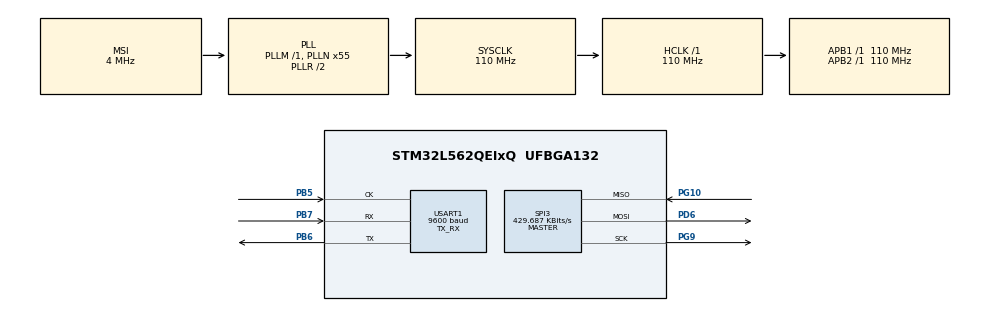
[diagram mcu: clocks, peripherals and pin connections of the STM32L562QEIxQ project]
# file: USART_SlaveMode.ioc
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Mcu.Family=STM32L5
Mcu.Name=STM32L562QEIxQ
Mcu.Package=UFBGA132
NVIC.PriorityGroup=NVIC_PRIORITYGROUP_3
PB5.GPIO_Speed=GPIO_SPEED_FREQ_VERY_HIGH
PB5.Mode=Synchronous Slave
PB5.Signal=USART1_CK
PB6.GPIO_Speed=GPIO_SPEED_FREQ_VERY_HIGH
PB6.Mode=Synchronous Slave
PB6.Signal=USART1_TX
PB7.GPIO_Speed=GPIO_SPEED_FREQ_VERY_HIGH
PB7.Mode=Synchronous Slave
PB7.Signal=USART1_RX
PD6.GPIO_PuPd=GPIO_PULLDOWN
PD6.GPIO_Speed=GPIO_SPEED_FREQ_VERY_HIGH
PD6.Mode=Full_Duplex_Master
PD6.Signal=SPI3_MOSI
PG10.GPIO_PuPd=GPIO_PULLDOWN
PG10.GPIO_Speed=GPIO_SPEED_FREQ_VERY_HIGH
PG10.Mode=Full_Duplex_Master
PG10.Signal=SPI3_MISO
PG9.GPIO_PuPd=GPIO_PULLDOWN
PG9.GPIO_Speed=GPIO_SPEED_FREQ_VERY_HIGH
PG9.Mode=Full_Duplex_Master
PG9.Signal=SPI3_SCK
ProjectManager.HeapSize=0x200
ProjectManager.StackSize=0x400
ProjectManager.TargetToolchain=EWARM V8.32
RCC.AHBFreq_Value=110000000
RCC.APB1Freq_Value=110000000
RCC.APB1TimFreq_Value=110000000
RCC.APB2Freq_Value=110000000
RCC.APB2TimFreq_Value=110000000
RCC.CK48CLockSelection=RCC_USBCLKSOURCE_MSI
RCC.CortexFreq_Value=110000000
RCC.HCLKFreq_Value=110000000
RCC.HSE_VALUE=16000000
RCC.HSI48_VALUE=48000000
RCC.HSI_VALUE=16000000
RCC.LSE_VALUE=32768
RCC.MSI_VALUE=4000000
RCC.PLLN=55
RCC.SYSCLKFreq_VALUE=110000000
RCC.SYSCLKSource=RCC_SYSCLKSOURCE_PLLCLK
RCC.USBFreq_Value=4000000
RCC.VCOOutputFreq_Value=220000000
SPI3.BaudRatePrescaler=SPI_BAUDRATEPRESCALER_256
SPI3.CalculateBaudRate=429.687 KBits/s
SPI3.DataSize=SPI_DATASIZE_8BIT
SPI3.Direction=SPI_DIRECTION_2LINES
SPI3.FirstBit=SPI_FIRSTBIT_LSB
SPI3.Mode=SPI_MODE_MASTER
SPI3.VirtualType=VM_MASTER
USART1.BaudRate=9600
USART1.CLKLastBit=USART_LASTBIT_ENABLE
USART1.CLKPhase=USART_PHASE_1EDGE
USART1.CLKPolarity=USART_POLARITY_LOW
USART1.ClockPrescaler=PRESCALER_DIV1
USART1.FIFOMode=FIFOMODE_DISABLE
USART1.Mode=MODE_TX_RX
USART1.NSS=USART_NSS_SOFT
USART1.Parity=PARITY_NONE
USART1.RXFIFOThreshold=RXFIFO_THRESHOLD_1EIGHTHFULL
USART1.SlaveMode=USART_SLAVEMODE_ENABLE
USART1.StopBits=STOPBITS_1
USART1.TXFIFOThreshold=TXFIFO_THRESHOLD_1EIGHTHFULL
USART1.VirtualMode-Synchronous\ Slave=VM_SYNC
USART1.WordLength=WORDLENGTH_8B
VP_ICACHE_VS_ICACHE.Mode=DirectMappedCache
VP_PWR_VS_DBSignals.Mode=DisableDeadBatterySignals
VP_USART1_VNSS.Mode=Software NSS Management
board=custom

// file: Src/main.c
/* USER CODE BEGIN Header */
/**
  ******************************************************************************
  * @file    USART/USART_SlaveMode/Src/main.c
  * @author  MCD Application Team
  * @brief   This sample code shows how to use USART HAL API (USART instance)
  *          to set up a USART-SPI communication.
  *          Two boards are used, one configured as a SPI master and the second
  *          one configured as an USART slave.
  ******************************************************************************
  * @attention
  *
  * Copyright (c) 2019 STMicroelectronics.
  * All rights reserved.
  *
  * This software is licensed under terms that can be found in the LICENSE file
  * in the root directory of this software component.
  * If no LICENSE file comes with this software, it is provided AS-IS.
  *
  ******************************************************************************
  */
/* USER CODE END Header */
#include "main.h"

/* USER CODE BEGIN PD */
#define SLAVE_BOARD
/* USER CODE END PD */

SPI_HandleTypeDef hspi3;

USART_HandleTypeDef husart1;

/* USER CODE BEGIN PV */
__IO uint32_t UserButtonStatus = 0; /* set to 1 after User Button interrupt */

/* Buffer used for transmission */
uint8_t aTxBuffer[] = " **** USART_SlaveMode ****  **** USART_SlaveMode ****  **** USART_SlaveMode **** ";

/* Buffer used for reception */
uint8_t aRxBuffer[RXBUFFERSIZE];
/* USER CODE END PV */

void SystemClock_Config(void);
static void MX_GPIO_Init(void);
static void MX_ICACHE_Init(void);
static void MX_SPI3_Init(void);
static void MX_USART1_Init(void);
/* USER CODE BEGIN PFP */
static uint16_t Buffercmp(uint8_t* pBuffer1, uint8_t* pBuffer2, uint16_t BufferLength);
/* USER CODE END PFP */

int main(void)
{
  /* USER CODE BEGIN 1 */
  /* STM32L5xx HAL library initialization:
       - Systick timer is configured by default as source of time base, but user
         can eventually implement his proper time base source (a general purpose
         timer for example or other time source), keeping in mind that Time base
         duration should be kept 1ms since PPP_TIMEOUT_VALUEs are defined and
         handled in milliseconds basis.
       - Set NVIC Group Priority to 3
       - Low Level Initialization
     */
  /* USER CODE END 1 */

  /* MCU Configuration--------------------------------------------------------*/

  /* Reset of all peripherals, Initializes the Flash interface and the Systick. */
  HAL_Init();

  /* Configure the system clock */
  SystemClock_Config();

  /* USER CODE BEGIN SysInit */
  /* Initialize BSP LEDs */
  BSP_LED_Init(LED10);
  BSP_LED_Init(LED9);
  /* USER CODE END SysInit */

  /* Initialize all configured peripherals */
  MX_GPIO_Init();
  MX_ICACHE_Init();
  MX_SPI3_Init();
  MX_USART1_Init();
  /* USER CODE BEGIN 2 */

#ifdef SLAVE_BOARD

  /*##-1- Start the transmission/reception process ###########################*/
  if(HAL_USART_TransmitReceive(&husart1, (uint8_t*)aTxBuffer, (uint8_t*)aRxBuffer, TXBUFFERSIZE, 0x1FFFFFF)!= HAL_OK)
  {
    Error_Handler();
  }

#else

  /*##-1- Configure the user button ##########################################*/

  /* Configure User push-button in Interrupt mode */
  BSP_PB_Init(BUTTON_USER, BUTTON_MODE_EXTI);

  /* Wait for User push-button press before starting the Communication.
     In the meantime, LED10 is blinking */
  while(UserButtonStatus == 0)
  {
    /* Toggle LED10 */
    BSP_LED_Toggle(LED10);
    HAL_Delay(100);
  }

  BSP_LED_Off(LED10);

  /*##-2- Start the transmission/reception process ###########################*/
  if(HAL_SPI_TransmitReceive(&hspi3, (uint8_t*)aTxBuffer, (uint8_t*)aRxBuffer, TXBUFFERSIZE, 5000)!= HAL_OK)
  {
    Error_Handler();
  }

#endif /* SLAVE_BOARD */

  /*##-3- Compare the sent and received buffers ##############################*/
  if(Buffercmp((uint8_t*)aTxBuffer,(uint8_t*)aRxBuffer,RXBUFFERSIZE))
  {
    Error_Handler();
  }

  /* Turn on LED10 if test passes then enter infinite loop */
  BSP_LED_On(LED10);

  /* The SPI Master board receives the message and sends it back */

  /* USER CODE END 2 */

  /* Infinite loop */
  while (1)
  {

  }
}

void SystemClock_Config(void)
{
  RCC_OscInitTypeDef RCC_OscInitStruct = {0};
  RCC_ClkInitTypeDef RCC_ClkInitStruct = {0};

  /** Configure the main internal regulator output voltage
  */
  if (HAL_PWREx_ControlVoltageScaling(PWR_REGULATOR_VOLTAGE_SCALE0) != HAL_OK)
  {
    Error_Handler();
  }

  /** Initializes the RCC Oscillators according to the specified parameters
  * in the RCC_OscInitTypeDef structure.
  */
  RCC_OscInitStruct.OscillatorType = RCC_OSCILLATORTYPE_MSI;
  RCC_OscInitStruct.MSIState = RCC_MSI_ON;
  RCC_OscInitStruct.MSICalibrationValue = RCC_MSICALIBRATION_DEFAULT;
  RCC_OscInitStruct.MSIClockRange = RCC_MSIRANGE_6;
  RCC_OscInitStruct.PLL.PLLState = RCC_PLL_ON;
  RCC_OscInitStruct.PLL.PLLSource = RCC_PLLSOURCE_MSI;
  RCC_OscInitStruct.PLL.PLLM = 1;
  RCC_OscInitStruct.PLL.PLLN = 55;
  RCC_OscInitStruct.PLL.PLLP = RCC_PLLP_DIV7;
  RCC_OscInitStruct.PLL.PLLQ = RCC_PLLQ_DIV2;
  RCC_OscInitStruct.PLL.PLLR = RCC_PLLR_DIV2;
  if (HAL_RCC_OscConfig(&RCC_OscInitStruct) != HAL_OK)
  {
    Error_Handler();
  }

  /** Initializes the CPU, AHB and APB buses clocks
  */
  RCC_ClkInitStruct.ClockType = RCC_CLOCKTYPE_HCLK|RCC_CLOCKTYPE_SYSCLK
                              |RCC_CLOCKTYPE_PCLK1|RCC_CLOCKTYPE_PCLK2;
  RCC_ClkInitStruct.SYSCLKSource = RCC_SYSCLKSOURCE_PLLCLK;
  RCC_ClkInitStruct.AHBCLKDivider = RCC_SYSCLK_DIV1;
  RCC_ClkInitStruct.APB1CLKDivider = RCC_HCLK_DIV1;
  RCC_ClkInitStruct.APB2CLKDivider = RCC_HCLK_DIV1;

  if (HAL_RCC_ClockConfig(&RCC_ClkInitStruct, FLASH_LATENCY_5) != HAL_OK)
  {
    Error_Handler();
  }
}

static void MX_ICACHE_Init(void)
{

  /** Enable instruction cache in 1-way (direct mapped cache)
  */
  if (HAL_ICACHE_ConfigAssociativityMode(ICACHE_1WAY) != HAL_OK)
  {
    Error_Handler();
  }
  if (HAL_ICACHE_Enable() != HAL_OK)
  {
    Error_Handler();
  }

}

static void MX_SPI3_Init(void)
{

  /* SPI3 parameter configuration*/
  hspi3.Instance = SPI3;
  hspi3.Init.Mode = SPI_MODE_MASTER;
  hspi3.Init.Direction = SPI_DIRECTION_2LINES;
  hspi3.Init.DataSize = SPI_DATASIZE_8BIT;
  hspi3.Init.CLKPolarity = SPI_POLARITY_LOW;
  hspi3.Init.CLKPhase = SPI_PHASE_1EDGE;
  hspi3.Init.NSS = SPI_NSS_SOFT;
  hspi3.Init.BaudRatePrescaler = SPI_BAUDRATEPRESCALER_256;
  hspi3.Init.FirstBit = SPI_FIRSTBIT_LSB;
  hspi3.Init.TIMode = SPI_TIMODE_DISABLE;
  hspi3.Init.CRCCalculation = SPI_CRCCALCULATION_DISABLE;
  hspi3.Init.CRCPolynomial = 7;
  hspi3.Init.CRCLength = SPI_CRC_LENGTH_DATASIZE;
  hspi3.Init.NSSPMode = SPI_NSS_PULSE_ENABLE;
  if (HAL_SPI_Init(&hspi3) != HAL_OK)
  {
    Error_Handler();
  }

}

static void MX_USART1_Init(void)
{

  husart1.Instance = USART1;
  husart1.Init.BaudRate = 9600;
  husart1.Init.WordLength = USART_WORDLENGTH_8B;
  husart1.Init.StopBits = USART_STOPBITS_1;
  husart1.Init.Parity = USART_PARITY_NONE;
  husart1.Init.Mode = USART_MODE_TX_RX;
  husart1.Init.CLKPolarity = USART_POLARITY_LOW;
  husart1.Init.CLKPhase = USART_PHASE_1EDGE;
  husart1.Init.CLKLastBit = USART_LASTBIT_ENABLE;
  husart1.Init.ClockPrescaler = USART_PRESCALER_DIV1;
  husart1.SlaveMode = USART_SLAVEMODE_ENABLE;
  if (HAL_USART_Init(&husart1) != HAL_OK)
  {
    Error_Handler();
  }
  if (HAL_USARTEx_SetTxFifoThreshold(&husart1, USART_TXFIFO_THRESHOLD_1_8) != HAL_OK)
  {
    Error_Handler();
  }
  if (HAL_USARTEx_SetRxFifoThreshold(&husart1, USART_RXFIFO_THRESHOLD_1_8) != HAL_OK)
  {
    Error_Handler();
  }
  if (HAL_USARTEx_ConfigNSS(&husart1, USART_NSS_SOFT) != HAL_OK)
  {
    Error_Handler();
  }
  if (HAL_USARTEx_DisableFifoMode(&husart1) != HAL_OK)
  {
    Error_Handler();
  }
  if (HAL_USARTEx_EnableSlaveMode(&husart1) != HAL_OK)
  {
    Error_Handler();
  }

}

static void MX_GPIO_Init(void)
{

  /* GPIO Ports Clock Enable */
  __HAL_RCC_GPIOB_CLK_ENABLE();
  __HAL_RCC_GPIOD_CLK_ENABLE();
  __HAL_RCC_GPIOG_CLK_ENABLE();
  HAL_PWREx_EnableVddIO2();

}

/* USER CODE BEGIN 4 */
/**
  * @brief EXTI line detection callbacks
  * @param GPIO_Pin: Specifies the pins connected EXTI line
  * @retval None
  */
void HAL_GPIO_EXTI_Rising_Callback(uint16_t GPIO_Pin)
{
  if (GPIO_Pin == BUTTON_USER_PIN)
  {
    UserButtonStatus = 1;
  }
}

/**
  * @brief  Compares two buffers.
  * @param  pBuffer1, pBuffer2: buffers to be compared.
  * @param  BufferLength: buffer's length
  * @retval 0  : pBuffer1 identical to pBuffer2
  *         >0 : pBuffer1 differs from pBuffer2
  */
static uint16_t Buffercmp(uint8_t* pBuffer1, uint8_t* pBuffer2, uint16_t BufferLength)
{
  while (BufferLength--)
  {
    if ((*pBuffer1) != *pBuffer2)
    {
      return BufferLength;
    }
    pBuffer1++;
    pBuffer2++;
  }

  return 0;
}
/* USER CODE END 4 */

void Error_Handler(void)
{
  /* USER CODE BEGIN Error_Handler_Debug */
  /* User can add his own implementation to report the HAL error return state */
  while(1)
  {
    /* LED9 is blinking */
    BSP_LED_Toggle(LED9);
    HAL_Delay(500);
  }
  /* USER CODE END Error_Handler_Debug */
}

#ifdef  USE_FULL_ASSERT
/**
  * @brief  Reports the name of the source file and the source line number
  *         where the assert_param error has occurred.
  * @param  file: pointer to the source file name
  * @param  line: assert_param error line source number
  * @retval None
  */
void assert_failed(uint8_t *file, uint32_t line)
{
  /* USER CODE BEGIN 6 */
  /* User can add his own implementation to report the file name and line number,
     ex: printf("Wrong parameters value: file %s on line %d\r\n", file, line) */
  /* Infinite loop */
  while (1)
  {}
  /* USER CODE END 6 */
}
#endif /* USE_FULL_ASSERT */
